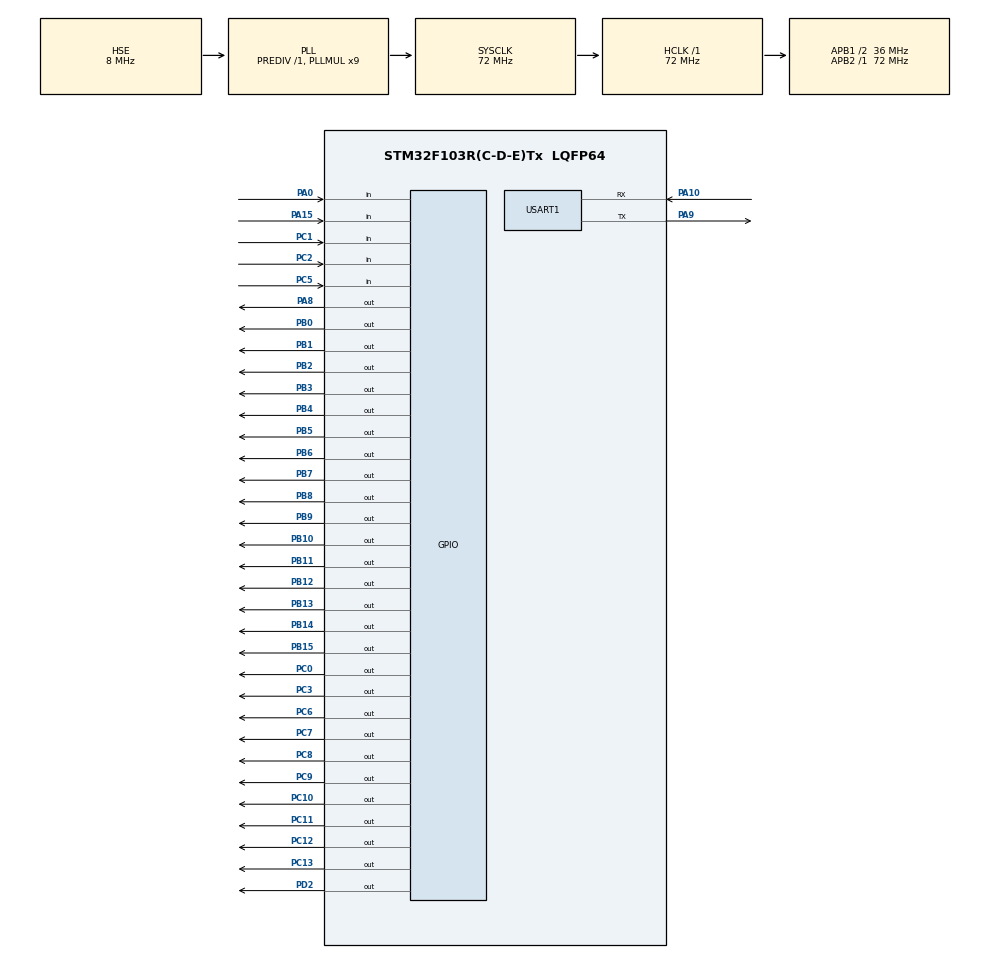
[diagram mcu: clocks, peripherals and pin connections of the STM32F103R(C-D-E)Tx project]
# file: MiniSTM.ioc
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Mcu.Family=STM32F1
Mcu.Name=STM32F103R(C-D-E)Tx
Mcu.Package=LQFP64
NVIC.PriorityGroup=NVIC_PRIORITYGROUP_4
PA0-WKUP.GPIO_PuPd=GPIO_PULLDOWN
PA0-WKUP.Signal=GPIO_Input
PA10.Mode=Asynchronous
PA10.Signal=USART1_RX
PA13.Mode=Serial_Wire
PA13.Signal=SYS_JTMS-SWDIO
PA14.Mode=Serial_Wire
PA14.Signal=SYS_JTCK-SWCLK
PA15.GPIO_PuPd=GPIO_PULLUP
PA15.Signal=GPIO_Input
PA8.GPIO_PuPd=GPIO_PULLUP
PA8.GPIO_Speed=GPIO_SPEED_FREQ_HIGH
PA8.Signal=GPIO_Output
PA9.Mode=Asynchronous
PA9.Signal=USART1_TX
PB0.GPIO_PuPd=GPIO_PULLUP
PB0.GPIO_Speed=GPIO_SPEED_FREQ_HIGH
PB0.Signal=GPIO_Output
PB1.GPIO_PuPd=GPIO_PULLUP
PB1.GPIO_Speed=GPIO_SPEED_FREQ_HIGH
PB1.Signal=GPIO_Output
PB10.GPIO_PuPd=GPIO_PULLUP
PB10.GPIO_Speed=GPIO_SPEED_FREQ_HIGH
PB10.Signal=GPIO_Output
PB11.GPIO_PuPd=GPIO_PULLUP
PB11.GPIO_Speed=GPIO_SPEED_FREQ_HIGH
PB11.Signal=GPIO_Output
PB12.GPIO_PuPd=GPIO_PULLUP
PB12.GPIO_Speed=GPIO_SPEED_FREQ_HIGH
PB12.Signal=GPIO_Output
PB13.GPIO_PuPd=GPIO_PULLUP
PB13.GPIO_Speed=GPIO_SPEED_FREQ_HIGH
PB13.Signal=GPIO_Output
PB14.GPIO_PuPd=GPIO_PULLUP
PB14.GPIO_Speed=GPIO_SPEED_FREQ_HIGH
PB14.Signal=GPIO_Output
PB15.GPIO_PuPd=GPIO_PULLUP
PB15.GPIO_Speed=GPIO_SPEED_FREQ_HIGH
PB15.Signal=GPIO_Output
PB2.GPIO_PuPd=GPIO_PULLUP
PB2.GPIO_Speed=GPIO_SPEED_FREQ_HIGH
PB2.Signal=GPIO_Output
PB3.GPIO_PuPd=GPIO_PULLUP
PB3.GPIO_Speed=GPIO_SPEED_FREQ_HIGH
PB3.Signal=GPIO_Output
PB4.GPIO_PuPd=GPIO_PULLUP
PB4.GPIO_Speed=GPIO_SPEED_FREQ_HIGH
PB4.Signal=GPIO_Output
PB5.GPIO_PuPd=GPIO_PULLUP
PB5.GPIO_Speed=GPIO_SPEED_FREQ_HIGH
PB5.Signal=GPIO_Output
PB6.GPIO_PuPd=GPIO_PULLUP
PB6.GPIO_Speed=GPIO_SPEED_FREQ_HIGH
PB6.Signal=GPIO_Output
PB7.GPIO_PuPd=GPIO_PULLUP
PB7.GPIO_Speed=GPIO_SPEED_FREQ_HIGH
PB7.Signal=GPIO_Output
PB8.GPIO_PuPd=GPIO_PULLUP
PB8.GPIO_Speed=GPIO_SPEED_FREQ_HIGH
PB8.PinState=GPIO_PIN_SET
PB8.Signal=GPIO_Output
PB9.GPIO_PuPd=GPIO_PULLUP
PB9.GPIO_Speed=GPIO_SPEED_FREQ_HIGH
PB9.Signal=GPIO_Output
PC0.GPIO_PuPd=GPIO_PULLUP
PC0.GPIO_Speed=GPIO_SPEED_FREQ_HIGH
PC0.Signal=GPIO_Output
PC1.GPIO_PuPd=GPIO_PULLUP
PC1.Signal=GPIO_Input
PC10.GPIO_PuPd=GPIO_PULLUP
PC10.GPIO_Speed=GPIO_SPEED_FREQ_HIGH
PC10.Signal=GPIO_Output
PC11.GPIO_PuPd=GPIO_PULLUP
PC11.GPIO_Speed=GPIO_SPEED_FREQ_HIGH
PC11.Signal=GPIO_Output
PC12.GPIO_PuPd=GPIO_PULLUP
PC12.GPIO_Speed=GPIO_SPEED_FREQ_HIGH
PC12.Signal=GPIO_Output
PC13-TAMPER-RTC.GPIO_PuPd=GPIO_PULLUP
PC13-TAMPER-RTC.GPIO_Speed=GPIO_SPEED_FREQ_HIGH
PC13-TAMPER-RTC.Signal=GPIO_Output
PC14-OSC32_IN.Mode=LSE-External-Oscillator
PC14-OSC32_IN.Signal=RCC_OSC32_IN
PC15-OSC32_OUT.Mode=LSE-External-Oscillator
PC15-OSC32_OUT.Signal=RCC_OSC32_OUT
PC2.GPIO_PuPd=GPIO_PULLUP
PC2.Signal=GPIO_Input
PC3.GPIO_PuPd=GPIO_PULLUP
PC3.GPIO_Speed=GPIO_SPEED_FREQ_HIGH
PC3.Signal=GPIO_Output
PC5.GPIO_PuPd=GPIO_PULLUP
PC5.Signal=GPIO_Input
PC6.GPIO_PuPd=GPIO_PULLUP
PC6.GPIO_Speed=GPIO_SPEED_FREQ_HIGH
PC6.Signal=GPIO_Output
PC7.GPIO_PuPd=GPIO_PULLUP
PC7.GPIO_Speed=GPIO_SPEED_FREQ_HIGH
PC7.Signal=GPIO_Output
PC8.GPIO_PuPd=GPIO_PULLUP
PC8.GPIO_Speed=GPIO_SPEED_FREQ_HIGH
PC8.Signal=GPIO_Output
PC9.GPIO_PuPd=GPIO_PULLUP
PC9.GPIO_Speed=GPIO_SPEED_FREQ_HIGH
PC9.Signal=GPIO_Output
PD0-OSC_IN.Mode=HSE-External-Oscillator
PD0-OSC_IN.Signal=RCC_OSC_IN
PD1-OSC_OUT.Mode=HSE-External-Oscillator
PD1-OSC_OUT.Signal=RCC_OSC_OUT
PD2.GPIO_PuPd=GPIO_PULLUP
PD2.GPIO_Speed=GPIO_SPEED_FREQ_HIGH
PD2.PinState=GPIO_PIN_SET
PD2.Signal=GPIO_Output
ProjectManager.HeapSize=0x200
ProjectManager.StackSize=0x400
ProjectManager.TargetToolchain=MDK-ARM V5.32
RCC.ADCPresc=RCC_ADCPCLK2_DIV6
RCC.AHBFreq_Value=72000000
RCC.APB1CLKDivider=RCC_HCLK_DIV2
RCC.APB1Freq_Value=36000000
RCC.APB1TimFreq_Value=72000000
RCC.APB2Freq_Value=72000000
RCC.APB2TimFreq_Value=72000000
RCC.HCLKFreq_Value=72000000
RCC.PLLMUL=RCC_PLL_MUL9
RCC.PLLSourceVirtual=RCC_PLLSOURCE_HSE
RCC.SYSCLKFreq_VALUE=72000000
RCC.SYSCLKSource=RCC_SYSCLKSOURCE_PLLCLK
RCC.USBFreq_Value=72000000
TIM4.AutoReloadPreload=TIM_AUTORELOAD_PRELOAD_DISABLE
TIM4.Channel-Output\ Compare1\ No\ Output=TIM_CHANNEL_1
TIM4.Period=1000
TIM4.Prescaler=8399
USART1.VirtualMode=VM_ASYNC
VP_TIM4_VS_ClockSourceITR.Mode=TriggerSource_ITR0
board=custom

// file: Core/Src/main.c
/* USER CODE BEGIN Header */
/**
 ******************************************************************************
 * @file           : main.c
 * @brief          : Main program body
 ******************************************************************************
 * @attention
 *
 * Copyright (c) 2022 STMicroelectronics.
 * All rights reserved.
 *
 * This software is licensed under terms that can be found in the LICENSE file
 * in the root directory of this software component.
 * If no LICENSE file comes with this software, it is provided AS-IS.
 *
 ******************************************************************************
 */
/* USER CODE END Header */
#include "main.h"
#include "tim.h"
#include "usart.h"
#include "gpio.h"

/* USER CODE BEGIN Includes */
#include "led.h"
#include "key.h"
#include "lcd.h"
#include "uart.h"
#include "usmart.h"
#include "24cxx.h"
#include "touch.h"
/* USER CODE END Includes */

void SystemClock_Config(void);

/* USER CODE BEGIN 0 */
void Load_Drow_Dialog(void)
{
	LCD_Clear(WHITE);
	POINT_COLOR = BLUE;
	LCD_ShowString(lcddev.width - 24, 0, 200, 16, 16, "RST");
	POINT_COLOR = RED;
}

void gui_draw_hline(uint16_t x0, uint16_t y0, uint16_t len, uint16_t color)
{
	if (len == 0)
		return;
	LCD_Fill(x0, y0, x0 + len - 1, y0, color);
}

void gui_fill_circle(uint16_t x0, uint16_t y0, uint16_t r, uint16_t color)
{
	uint32_t i;
	uint32_t imax = ((uint32_t)r * 707) / 1000 + 1;
	uint32_t sqmax = (uint32_t)r * (uint32_t)r + (uint32_t)r / 2;
	uint32_t x = r;
	gui_draw_hline(x0 - r, y0, 2 * r, color);
	for (i = 1; i <= imax; i++)
	{
		if ((i * i + x * x) > sqmax)
		{
			if (x > imax)
			{
				gui_draw_hline(x0 - i + 1, y0 + x, 2 * (i - 1), color);
				gui_draw_hline(x0 - i + 1, y0 - x, 2 * (i - 1), color);
			}
			x--;
		}
		// draw lines from inside (center)
		gui_draw_hline(x0 - x, y0 + i, 2 * x, color);
		gui_draw_hline(x0 - x, y0 - i, 2 * x, color);
	}
}

uint16_t my_abs(uint16_t x1, uint16_t x2)
{
	if (x1 > x2)
		return x1 - x2;
	else
		return x2 - x1;
}

void lcd_draw_bline(uint16_t x1, uint16_t y1, uint16_t x2, uint16_t y2, uint8_t size, uint16_t color)
{
	uint16_t t;
	int xerr = 0, yerr = 0, delta_x, delta_y, distance;
	int incx, incy, uRow, uCol;
	if (x1 < size || x2 < size || y1 < size || y2 < size)
		return;
	delta_x = x2 - x1;
	delta_y = y2 - y1;
	uRow = x1;
	uCol = y1;
	if (delta_x > 0)
		incx = 1;
	else if (delta_x == 0)
		incx = 0;
	else
	{
		incx = -1;
		delta_x = -delta_x;
	}
	if (delta_y > 0)
		incy = 1;
	else if (delta_y == 0)
		incy = 0;
	else
	{
		incy = -1;
		delta_y = -delta_y;
	}
	if (delta_x > delta_y)
		distance = delta_x;
	else
		distance = delta_y;
	for (t = 0; t <= distance + 1; t++)
	{
		gui_fill_circle(uRow, uCol, size, color);
		xerr += delta_x;
		yerr += delta_y;
		if (xerr > distance)
		{
			xerr -= distance;
			uRow += incx;
		}
		if (yerr > distance)
		{
			yerr -= distance;
			uCol += incy;
		}
	}
}

const uint16_t POINT_COLOR_TBL[5] = {RED, GREEN, BLUE, BROWN, GRED};
void rtp_test(void)
{
	uint8_t key;
	uint8_t i = 0;
	while (1)
	{
		key = KEY_Scan(0);
		tp_dev.scan(0);
		if (tp_dev.sta & TP_PRES_DOWN)
		{
			if (tp_dev.x[0] < lcddev.width && tp_dev.y[0] < lcddev.height)
			{
				if (tp_dev.x[0] > (lcddev.width - 24) && tp_dev.y[0] < 16)
					Load_Drow_Dialog();
				else
					TP_Draw_Big_Point(tp_dev.x[0], tp_dev.y[0], RED);
			}
		}
		else
			HAL_Delay(10);
		if (key == KEY0_PRES)
		{
			LCD_Clear(WHITE);
			TP_Adjust();
			TP_Save_Adjdata();
			Load_Drow_Dialog();
		}
		i++;
		if (i % 20 == 0)
			LED0 = !LED0;
	}
}

/* USER CODE END 0 */

int main(void)
{

	/* MCU Configuration--------------------------------------------------------*/

	/* Reset of all peripherals, Initializes the Flash interface and the Systick. */
	HAL_Init();

	/* Configure the system clock */
	SystemClock_Config();

	/* Initialize all configured peripherals */
	MX_GPIO_Init();
	MX_USART1_UART_Init();
	MX_TIM4_Init();
	/* USER CODE BEGIN 2 */
	LCD_Init();
	tp_dev.init();

	HAL_NVIC_EnableIRQ(TIM4_IRQn);
	HAL_NVIC_SetPriority(TIM4_IRQn, 9, 0);
	HAL_TIM_Base_Start_IT(&htim4);

	HAL_NVIC_EnableIRQ(USART1_IRQn);
	HAL_NVIC_SetPriority(USART1_IRQn, 9, 0);
	HAL_UART_Receive_IT(&huart1, (uint8_t *)aRxBuffer, RXBUFFERSIZE);

	POINT_COLOR = RED;
	LCD_ShowString(30, 50, 200, 16, 16, "Mini STM32");
	LCD_ShowString(30, 70, 200, 16, 16, "TOUCH TEST");
	LCD_ShowString(30, 90, 200, 16, 16, "ATOM@ALIENTEK");
	LCD_ShowString(30, 110, 200, 16, 16, "2019/11/15");
	if (tp_dev.touchtype != 0XFF)
	{
		LCD_ShowString(30, 130, 200, 16, 16, "Press KEY0 to Adjust");
	}
	HAL_Delay(1500);
	Load_Drow_Dialog();

	rtp_test();

	/* USER CODE END 2 */

	/* Infinite loop */
	while (1)
	{

	}
}

void SystemClock_Config(void)
{
	RCC_OscInitTypeDef RCC_OscInitStruct = {0};
	RCC_ClkInitTypeDef RCC_ClkInitStruct = {0};

	/** Initializes the RCC Oscillators according to the specified parameters
	 * in the RCC_OscInitTypeDef structure.
	 */
	RCC_OscInitStruct.OscillatorType = RCC_OSCILLATORTYPE_HSE;
	RCC_OscInitStruct.HSEState = RCC_HSE_ON;
	RCC_OscInitStruct.HSEPredivValue = RCC_HSE_PREDIV_DIV1;
	RCC_OscInitStruct.HSIState = RCC_HSI_ON;
	RCC_OscInitStruct.PLL.PLLState = RCC_PLL_ON;
	RCC_OscInitStruct.PLL.PLLSource = RCC_PLLSOURCE_HSE;
	RCC_OscInitStruct.PLL.PLLMUL = RCC_PLL_MUL9;
	if (HAL_RCC_OscConfig(&RCC_OscInitStruct) != HAL_OK)
	{
		Error_Handler();
	}

	/** Initializes the CPU, AHB and APB buses clocks
	 */
	RCC_ClkInitStruct.ClockType = RCC_CLOCKTYPE_HCLK | RCC_CLOCKTYPE_SYSCLK | RCC_CLOCKTYPE_PCLK1 | RCC_CLOCKTYPE_PCLK2;
	RCC_ClkInitStruct.SYSCLKSource = RCC_SYSCLKSOURCE_PLLCLK;
	RCC_ClkInitStruct.AHBCLKDivider = RCC_SYSCLK_DIV1;
	RCC_ClkInitStruct.APB1CLKDivider = RCC_HCLK_DIV2;
	RCC_ClkInitStruct.APB2CLKDivider = RCC_HCLK_DIV1;

	if (HAL_RCC_ClockConfig(&RCC_ClkInitStruct, FLASH_LATENCY_2) != HAL_OK)
	{
		Error_Handler();
	}
}

void Error_Handler(void)
{
	__disable_irq();
	while (1)
	{
	}
}
